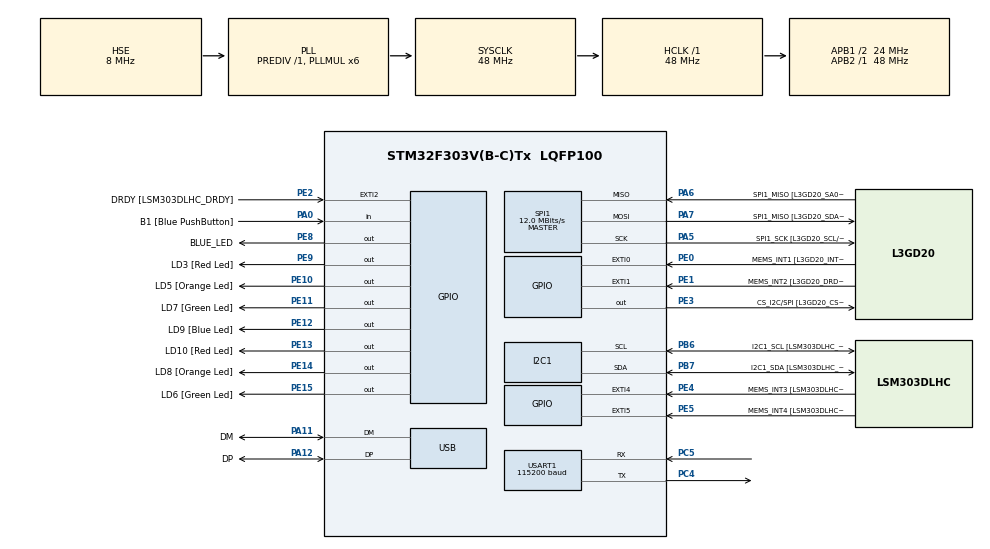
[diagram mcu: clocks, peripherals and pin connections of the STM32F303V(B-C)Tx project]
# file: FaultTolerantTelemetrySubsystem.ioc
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I2C1.Timing=0x00201D2B
I2C1.Timing-I2C=0x2000090E
Mcu.Family=STM32F3
Mcu.Name=STM32F303V(B-C)Tx
Mcu.Package=LQFP100
NVIC.PriorityGroup=NVIC_PRIORITYGROUP_0
NVIC.TIM2_IRQn=true\:0\:0\:false\:false\:true\:true\:true\:true
PA0.GPIO_Label=B1 [Blue PushButton]
PA0.Signal=GPIO_Input
PA11.GPIO_Label=DM
PA11.Mode=Device
PA11.Signal=USB_DM
PA12.GPIO_Label=DP
PA12.Mode=Device
PA12.Signal=USB_DP
PA13.GPIO_Label=SWDIO
PA13.Mode=Serial_Wire
PA13.Signal=SYS_JTMS-SWDIO
PA14.GPIO_Label=SWCLK
PA14.Mode=Serial_Wire
PA14.Signal=SYS_JTCK-SWCLK
PA5.GPIO_Label=SPI1_SCK [L3GD20_SCL/SPC]
PA5.Mode=Full_Duplex_Master
PA5.Signal=SPI1_SCK
PA6.GPIO_Label=SPI1_MISO [L3GD20_SA0/SDO]
PA6.Mode=Full_Duplex_Master
PA6.Signal=SPI1_MISO
PA7.GPIO_Label=SPI1_MISO [L3GD20_SDA/SDI/SDO]
PA7.Mode=Full_Duplex_Master
PA7.Signal=SPI1_MOSI
PB3.GPIO_Label=SWO
PB3.Signal=SYS_JTDO-TRACESWO
PB6.GPIO_Label=I2C1_SCL [LSM303DLHC_SCL]
PB6.GPIO_Pu=GPIO_PULLUP
PB6.Mode=I2C
PB6.Signal=I2C1_SCL
PB7.GPIO_Label=I2C1_SDA [LSM303DLHC_SDA]
PB7.GPIO_Pu=GPIO_PULLUP
PB7.Mode=I2C
PB7.Signal=I2C1_SDA
PC14-OSC32_IN.GPIO_Label=OSC32_IN
PC14-OSC32_IN.Signal=RCC_OSC32_IN
PC15-OSC32_OUT.GPIO_Label=OSC32_OUT
PC15-OSC32_OUT.Signal=RCC_OSC32_OUT
PC4.Mode=Asynchronous
PC4.Signal=USART1_TX
PC5.Mode=Asynchronous
PC5.Signal=USART1_RX
PE0.GPIO_Label=MEMS_INT1 [L3GD20_INT1]
PE0.GPIO_ModeDefaultEXTI=GPIO_MODE_EVT_RISING
PE0.Signal=GPXTI0
PE1.GPIO_Label=MEMS_INT2 [L3GD20_DRDY/INT2]
PE1.GPIO_ModeDefaultEXTI=GPIO_MODE_EVT_RISING
PE1.Signal=GPXTI1
PE10.GPIO_Label=LD5 [Orange Led]
PE10.Signal=GPIO_Output
PE11.GPIO_Label=LD7 [Green Led]
PE11.Signal=GPIO_Output
PE12.GPIO_Label=LD9 [Blue Led]
PE12.Signal=GPIO_Output
PE13.GPIO_Label=LD10 [Red Led]
PE13.Signal=GPIO_Output
PE14.GPIO_Label=LD8 [Orange Led]
PE14.Signal=GPIO_Output
PE15.GPIO_Label=LD6 [Green Led]
PE15.Signal=GPIO_Output
PE2.GPIO_Label=DRDY [LSM303DLHC_DRDY]
PE2.GPIO_ModeDefaultEXTI=GPIO_MODE_EVT_RISING
PE2.Signal=GPXTI2
PE3.GPIO_Label=CS_I2C/SPI [L3GD20_CS_I2C/SPI]
PE3.Signal=GPIO_Output
PE4.GPIO_Label=MEMS_INT3 [LSM303DLHC_INT1]
PE4.GPIO_ModeDefaultEXTI=GPIO_MODE_EVT_RISING
PE4.Signal=GPXTI4
PE5.GPIO_Label=MEMS_INT4 [LSM303DLHC_INT2]
PE5.GPIO_ModeDefaultEXTI=GPIO_MODE_EVT_RISING
PE5.Signal=GPXTI5
PE8.GPIO_Label=BLUE_LED
PE8.Signal=GPIO_Output
PE9.GPIO_Label=LD3 [Red Led]
PE9.Signal=GPIO_Output
PF0-OSC_IN.GPIO_Label=OSC_IN
PF0-OSC_IN.Mode=HSE-External-Clock-Source
PF0-OSC_IN.Signal=RCC_OSC_IN
PF1-OSC_OUT.GPIO_Label=OSC_OUT
PF1-OSC_OUT.Signal=RCC_OSC_OUT
ProjectManager.HeapSize=0x200
ProjectManager.StackSize=0x400
ProjectManager.TargetToolchain=STM32CubeIDE
RCC.AHBFreq_Value=48000000
RCC.APB1CLKDivider=RCC_HCLK_DIV2
RCC.APB1Freq_Value=24000000
RCC.APB1TimFreq_Value=48000000
RCC.APB2Freq_Value=48000000
RCC.APB2TimFreq_Value=48000000
RCC.CortexFreq_Value=48000000
RCC.HCLKFreq_Value=48000000
RCC.HSE_VALUE=8000000
RCC.HSI_VALUE=8000000
RCC.LSE_VALUE=32768
RCC.PLLMUL=RCC_PLL_MUL6
RCC.SYSCLKFreq_VALUE=48000000
RCC.SYSCLKSourceVirtual=RCC_SYSCLKSOURCE_PLLCLK
RCC.USBFreq_Value=48000000
SPI1.BaudRatePrescaler=SPI_BAUDRATEPRESCALER_4
SPI1.BaudRatePrescaler-Full_Duplex_Master=SPI_BAUDRATEPRESCALER_2
SPI1.CalculateBaudRate=12.0 MBits/s
SPI1.CalculateBaudRate-Full_Duplex_Master=24.0 MBits/s
SPI1.Direction=SPI_DIRECTION_2LINES
SPI1.Mode=SPI_MODE_MASTER
SPI1.Mode-Full_Duplex_Master=SPI_MODE_MASTER
SPI1.VirtualType=VM_MASTER
TIM2.Period=511
TIM2.Prescaler=1561
USART1.BaudRate=115200
USART1.VirtualMode-Asynchronous=VM_ASYNC
VP_TIM2_VS_ClockSourceINT.Mode=Internal
board=STM32F3DISCOVERY

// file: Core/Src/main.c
/* USER CODE BEGIN Header */
/**
  ******************************************************************************
  * @file           : main.c
  * @brief          : Main program body
  ******************************************************************************
  * @attention
  *
  * Copyright (c) 2025 STMicroelectronics.
  * All rights reserved.
  *
  * This software is licensed under terms that can be found in the LICENSE file
  * in the root directory of this software component.
  * If no LICENSE file comes with this software, it is provided AS-IS.
  *
  ******************************************************************************
  */
/* USER CODE END Header */
#include "main.h"

/* USER CODE BEGIN PTD */
typedef enum {
	CONFIG = 0x20,
	X = 0x28,
	Y = 0x2A,
	Z = 0x2C
} Accel_Reg;

typedef struct {
	int16_t X;
	int16_t Y;
	int16_t Z;
} AccelCoordinates;
/* USER CODE END PTD */

I2C_HandleTypeDef hi2c1;

SPI_HandleTypeDef hspi1;

TIM_HandleTypeDef htim2;

UART_HandleTypeDef huart1;

PCD_HandleTypeDef hpcd_USB_FS;

/* USER CODE BEGIN PV */
Accel_Reg coords[3] = {X, Y, Z};
AccelCoordinates accel_data;
/* USER CODE END PV */

void SystemClock_Config(void);
static void MX_GPIO_Init(void);
static void MX_I2C1_Init(void);
static void MX_SPI1_Init(void);
static void MX_USB_PCD_Init(void);
static void MX_TIM2_Init(void);
static void MX_USART1_UART_Init(void);
/* USER CODE BEGIN PFP */
void Configure_Accel(void);
void Verify_Accel_Config(void);
void Read_Accel_Data(Accel_Reg reg, AccelCoordinates *ac);
/* USER CODE END PFP */

int main(void)
{

  /* MCU Configuration--------------------------------------------------------*/

  /* Reset of all peripherals, Initializes the Flash interface and the Systick. */
  HAL_Init();

  /* Configure the system clock */
  SystemClock_Config();

  /* Initialize all configured peripherals */
  MX_GPIO_Init();
  MX_I2C1_Init();
  MX_SPI1_Init();
  MX_USB_PCD_Init();
  MX_TIM2_Init();
  MX_USART1_UART_Init();
  /* USER CODE BEGIN 2 */
  Configure_Accel();
  HAL_TIM_Base_Start_IT(&htim2);

  /* USER CODE END 2 */

  /* Infinite loop */
  while (1)
  {

  }
}

void SystemClock_Config(void)
{
  RCC_OscInitTypeDef RCC_OscInitStruct = {0};
  RCC_ClkInitTypeDef RCC_ClkInitStruct = {0};
  RCC_PeriphCLKInitTypeDef PeriphClkInit = {0};

  /** Initializes the RCC Oscillators according to the specified parameters
  * in the RCC_OscInitTypeDef structure.
  */
  RCC_OscInitStruct.OscillatorType = RCC_OSCILLATORTYPE_HSI|RCC_OSCILLATORTYPE_HSE;
  RCC_OscInitStruct.HSEState = RCC_HSE_BYPASS;
  RCC_OscInitStruct.HSEPredivValue = RCC_HSE_PREDIV_DIV1;
  RCC_OscInitStruct.HSIState = RCC_HSI_ON;
  RCC_OscInitStruct.HSICalibrationValue = RCC_HSICALIBRATION_DEFAULT;
  RCC_OscInitStruct.PLL.PLLState = RCC_PLL_ON;
  RCC_OscInitStruct.PLL.PLLSource = RCC_PLLSOURCE_HSE;
  RCC_OscInitStruct.PLL.PLLMUL = RCC_PLL_MUL6;
  if (HAL_RCC_OscConfig(&RCC_OscInitStruct) != HAL_OK)
  {
    Error_Handler();
  }

  /** Initializes the CPU, AHB and APB buses clocks
  */
  RCC_ClkInitStruct.ClockType = RCC_CLOCKTYPE_HCLK|RCC_CLOCKTYPE_SYSCLK
                              |RCC_CLOCKTYPE_PCLK1|RCC_CLOCKTYPE_PCLK2;
  RCC_ClkInitStruct.SYSCLKSource = RCC_SYSCLKSOURCE_PLLCLK;
  RCC_ClkInitStruct.AHBCLKDivider = RCC_SYSCLK_DIV1;
  RCC_ClkInitStruct.APB1CLKDivider = RCC_HCLK_DIV2;
  RCC_ClkInitStruct.APB2CLKDivider = RCC_HCLK_DIV1;

  if (HAL_RCC_ClockConfig(&RCC_ClkInitStruct, FLASH_LATENCY_1) != HAL_OK)
  {
    Error_Handler();
  }
  PeriphClkInit.PeriphClockSelection = RCC_PERIPHCLK_USB|RCC_PERIPHCLK_USART1
                              |RCC_PERIPHCLK_I2C1;
  PeriphClkInit.Usart1ClockSelection = RCC_USART1CLKSOURCE_PCLK2;
  PeriphClkInit.I2c1ClockSelection = RCC_I2C1CLKSOURCE_HSI;
  PeriphClkInit.USBClockSelection = RCC_USBCLKSOURCE_PLL;
  if (HAL_RCCEx_PeriphCLKConfig(&PeriphClkInit) != HAL_OK)
  {
    Error_Handler();
  }
}

static void MX_I2C1_Init(void)
{

  hi2c1.Instance = I2C1;
  hi2c1.Init.Timing = 0x00201D2B;
  hi2c1.Init.OwnAddress1 = 0;
  hi2c1.Init.AddressingMode = I2C_ADDRESSINGMODE_7BIT;
  hi2c1.Init.DualAddressMode = I2C_DUALADDRESS_DISABLE;
  hi2c1.Init.OwnAddress2 = 0;
  hi2c1.Init.OwnAddress2Masks = I2C_OA2_NOMASK;
  hi2c1.Init.GeneralCallMode = I2C_GENERALCALL_DISABLE;
  hi2c1.Init.NoStretchMode = I2C_NOSTRETCH_DISABLE;
  if (HAL_I2C_Init(&hi2c1) != HAL_OK)
  {
    Error_Handler();
  }

  /** Configure Analogue filter
  */
  if (HAL_I2CEx_ConfigAnalogFilter(&hi2c1, I2C_ANALOGFILTER_ENABLE) != HAL_OK)
  {
    Error_Handler();
  }

  /** Configure Digital filter
  */
  if (HAL_I2CEx_ConfigDigitalFilter(&hi2c1, 0) != HAL_OK)
  {
    Error_Handler();
  }

}

static void MX_SPI1_Init(void)
{

  /* SPI1 parameter configuration*/
  hspi1.Instance = SPI1;
  hspi1.Init.Mode = SPI_MODE_MASTER;
  hspi1.Init.Direction = SPI_DIRECTION_2LINES;
  hspi1.Init.DataSize = SPI_DATASIZE_4BIT;
  hspi1.Init.CLKPolarity = SPI_POLARITY_LOW;
  hspi1.Init.CLKPhase = SPI_PHASE_1EDGE;
  hspi1.Init.NSS = SPI_NSS_SOFT;
  hspi1.Init.BaudRatePrescaler = SPI_BAUDRATEPRESCALER_4;
  hspi1.Init.FirstBit = SPI_FIRSTBIT_MSB;
  hspi1.Init.TIMode = SPI_TIMODE_DISABLE;
  hspi1.Init.CRCCalculation = SPI_CRCCALCULATION_DISABLE;
  hspi1.Init.CRCPolynomial = 7;
  hspi1.Init.CRCLength = SPI_CRC_LENGTH_DATASIZE;
  hspi1.Init.NSSPMode = SPI_NSS_PULSE_ENABLE;
  if (HAL_SPI_Init(&hspi1) != HAL_OK)
  {
    Error_Handler();
  }

}

static void MX_TIM2_Init(void)
{

  TIM_ClockConfigTypeDef sClockSourceConfig = {0};
  TIM_MasterConfigTypeDef sMasterConfig = {0};

  htim2.Instance = TIM2;
  htim2.Init.Prescaler = 1561;
  htim2.Init.CounterMode = TIM_COUNTERMODE_UP;
  htim2.Init.Period = 511;
  htim2.Init.ClockDivision = TIM_CLOCKDIVISION_DIV1;
  htim2.Init.AutoReloadPreload = TIM_AUTORELOAD_PRELOAD_DISABLE;
  if (HAL_TIM_Base_Init(&htim2) != HAL_OK)
  {
    Error_Handler();
  }
  sClockSourceConfig.ClockSource = TIM_CLOCKSOURCE_INTERNAL;
  if (HAL_TIM_ConfigClockSource(&htim2, &sClockSourceConfig) != HAL_OK)
  {
    Error_Handler();
  }
  sMasterConfig.MasterOutputTrigger = TIM_TRGO_RESET;
  sMasterConfig.MasterSlaveMode = TIM_MASTERSLAVEMODE_DISABLE;
  if (HAL_TIMEx_MasterConfigSynchronization(&htim2, &sMasterConfig) != HAL_OK)
  {
    Error_Handler();
  }

}

static void MX_USART1_UART_Init(void)
{

  huart1.Instance = USART1;
  huart1.Init.BaudRate = 115200;
  huart1.Init.WordLength = UART_WORDLENGTH_8B;
  huart1.Init.StopBits = UART_STOPBITS_1;
  huart1.Init.Parity = UART_PARITY_NONE;
  huart1.Init.Mode = UART_MODE_TX_RX;
  huart1.Init.HwFlowCtl = UART_HWCONTROL_NONE;
  huart1.Init.OverSampling = UART_OVERSAMPLING_16;
  huart1.Init.OneBitSampling = UART_ONE_BIT_SAMPLE_DISABLE;
  huart1.AdvancedInit.AdvFeatureInit = UART_ADVFEATURE_NO_INIT;
  if (HAL_UART_Init(&huart1) != HAL_OK)
  {
    Error_Handler();
  }

}

static void MX_USB_PCD_Init(void)
{

  hpcd_USB_FS.Instance = USB;
  hpcd_USB_FS.Init.dev_endpoints = 8;
  hpcd_USB_FS.Init.speed = PCD_SPEED_FULL;
  hpcd_USB_FS.Init.phy_itface = PCD_PHY_EMBEDDED;
  hpcd_USB_FS.Init.low_power_enable = DISABLE;
  hpcd_USB_FS.Init.battery_charging_enable = DISABLE;
  if (HAL_PCD_Init(&hpcd_USB_FS) != HAL_OK)
  {
    Error_Handler();
  }

}

static void MX_GPIO_Init(void)
{
  GPIO_InitTypeDef GPIO_InitStruct = {0};

  /* GPIO Ports Clock Enable */
  __HAL_RCC_GPIOE_CLK_ENABLE();
  __HAL_RCC_GPIOC_CLK_ENABLE();
  __HAL_RCC_GPIOF_CLK_ENABLE();
  __HAL_RCC_GPIOA_CLK_ENABLE();
  __HAL_RCC_GPIOB_CLK_ENABLE();

  /*Configure GPIO pin Output Level */
  HAL_GPIO_WritePin(GPIOE, CS_I2C_SPI_Pin|BLUE_LED_Pin|LD3_Pin|LD5_Pin
                          |LD7_Pin|LD9_Pin|LD10_Pin|LD8_Pin
                          |LD6_Pin, GPIO_PIN_RESET);

  /*Configure GPIO pins : DRDY_Pin MEMS_INT3_Pin MEMS_INT4_Pin MEMS_INT1_Pin
                           MEMS_INT2_Pin */
  GPIO_InitStruct.Pin = DRDY_Pin|MEMS_INT3_Pin|MEMS_INT4_Pin|MEMS_INT1_Pin
                          |MEMS_INT2_Pin;
  GPIO_InitStruct.Mode = GPIO_MODE_EVT_RISING;
  GPIO_InitStruct.Pull = GPIO_NOPULL;
  HAL_GPIO_Init(GPIOE, &GPIO_InitStruct);

  /*Configure GPIO pins : CS_I2C_SPI_Pin BLUE_LED_Pin LD3_Pin LD5_Pin
                           LD7_Pin LD9_Pin LD10_Pin LD8_Pin
                           LD6_Pin */
  GPIO_InitStruct.Pin = CS_I2C_SPI_Pin|BLUE_LED_Pin|LD3_Pin|LD5_Pin
                          |LD7_Pin|LD9_Pin|LD10_Pin|LD8_Pin
                          |LD6_Pin;
  GPIO_InitStruct.Mode = GPIO_MODE_OUTPUT_PP;
  GPIO_InitStruct.Pull = GPIO_NOPULL;
  GPIO_InitStruct.Speed = GPIO_SPEED_FREQ_LOW;
  HAL_GPIO_Init(GPIOE, &GPIO_InitStruct);

  /*Configure GPIO pin : B1_Pin */
  GPIO_InitStruct.Pin = B1_Pin;
  GPIO_InitStruct.Mode = GPIO_MODE_INPUT;
  GPIO_InitStruct.Pull = GPIO_NOPULL;
  HAL_GPIO_Init(B1_GPIO_Port, &GPIO_InitStruct);

}

/* USER CODE BEGIN 4 */
void Configure_Accel(void)
{
	/* configure LSM303DLHC accel */
	uint16_t addr = 0x19 << 1; /* must shl 1 bit to make room for transmit/receive bit */
	uint8_t reg_offset = 0x20;
	uint8_t sensor_config = 0x37;
	uint16_t size = 2; /* in bytes */
	uint8_t buf[] = {reg_offset, sensor_config};
	uint32_t timeout = 100; /* in ms */
	HAL_I2C_Master_Transmit(&hi2c1, addr, buf, size, timeout);
}

void Verify_Accel_Config(void)
{
	/* target the config register LSM303DLHC accel */
	uint16_t addr = 0x19 << 1; /* must shl 1 bit to make room for transmit/receive bit */
	uint8_t reg_offset = 0x20;
	uint16_t size = 1; /* in bytes */
	uint8_t buf[] = {reg_offset};
	uint32_t timeout = 100; /* in ms */
	HAL_I2C_Master_Transmit(&hi2c1, addr, buf, size, timeout);
	/* read from the config register */
	HAL_I2C_Master_Receive(&hi2c1, addr, buf, size, timeout); /* overwrites the contents of buffer with the config byte */
}

void Read_Accel_Data(Accel_Reg reg, AccelCoordinates *ac)
{
	/* target the X axis data registers LSM303DLHC accel */
	uint16_t addr = 0x19 << 1; /* must shl 1 bit to make room for transmit/receive bit */
	uint8_t reg_offset = (uint8_t)reg | 0x80; /* assert MSB to tell sensor multi-byte */
	uint16_t size = 2; /* in bytes */
	uint8_t buf[size];
	buf[0] = reg_offset;
	uint32_t timeout = 100; /* in ms */
	HAL_I2C_Master_Transmit(&hi2c1, addr, buf, 1, timeout); /* only need to send register addr in transmit */
	/* read from the X axis data registers */
	HAL_I2C_Master_Receive(&hi2c1, addr, buf, size, timeout); /* overwrites the contents of buffer with the config byte */

	/* write out accel coordinate value */
	int16_t temp = (int16_t)(buf[1] << 8);
	temp |= (int16_t)(buf[0]);
	switch (reg)
	{
	case X:
		ac->X = temp;
		break;
	case Y:
		ac->Y = temp;
		break;
	case Z:
		ac->Z = temp;
		break;
	}
}

void HAL_TIM_PeriodElapsedCallback(TIM_HandleTypeDef *htim)
{
	if (htim->Instance == TIM2)
	{
		/* capture all 3 coordinates */
		for (int i = 0; i < (sizeof(coords) / sizeof(coords[0])); i++)
			Read_Accel_Data(coords[i], &accel_data);

		/* transmit accel data via Virtual COM connected via ST-Link */
		uint32_t timeout = 100;
		uint16_t max_chars = 8+9+9+3; /* "X=" is 2 chars, %d is printing a max of '-' and 5 digits (16 bit signed int) */
		char outstr[max_chars];
		sprintf(outstr, "X=%d Y=%d Z=%d\r\n", accel_data.X, accel_data.Y, accel_data.Z);
		HAL_UART_Transmit(&huart1, (const uint8_t *)outstr, max_chars, timeout);
//		HAL_GPIO_TogglePin(GPIOE, BLUE_LED_Pin);
	}
}

/* USER CODE END 4 */

void Error_Handler(void)
{
  __disable_irq();
  while (1)
  {
  }
}
